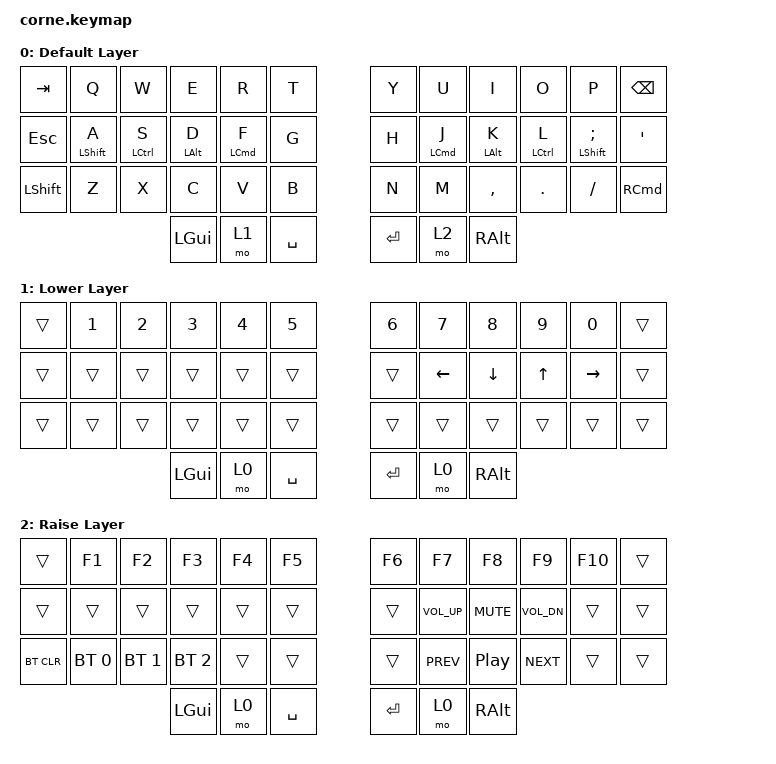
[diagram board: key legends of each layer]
/*
 * Copyright (c) 2020 The ZMK Contributors
 *
 * SPDX-License-Identifier: MIT
 */

#include <behaviors.dtsi>
#include <dt-bindings/zmk/bt.h>
#include <dt-bindings/zmk/keys.h>

/ {
    combos {
        compatible = "zmk,combos";

        COMBO_LEFT_BRACKET {
            bindings = <&kp LEFT_BRACKET>;
            key-positions = <3 4>;
            layers = <0>;
        };

        COMBO_RIGHT_BRACKET {
            bindings = <&kp RIGHT_BRACKET>;
            key-positions = <7 8>;
            layers = <0>;
        };

        COMBO_LESS_THAN {
            bindings = <&kp LESS_THAN>;
            key-positions = <3 2>;
            layers = <0>;
        };

        COMBO_GREATER_THAN {
            bindings = <&kp GREATER_THAN>;
            key-positions = <8 9>;
            layers = <0>;
        };

        COMBO_LEFT_PARENTHESIS {
            bindings = <&kp LEFT_PARENTHESIS>;
            key-positions = <15 16>;
            layers = <0>;
        };

        COMBO_RIGHT_PARENTHESIS {
            bindings = <&kp RIGHT_PARENTHESIS>;
            key-positions = <19 20>;
            layers = <0>;
        };

        COMBO_LEFT_BRACE {
            bindings = <&kp LEFT_BRACE>;
            key-positions = <27 28>;
            layers = <0>;
        };

        COMBO_RIGHT_BRACE {
            bindings = <&kp RIGHT_BRACE>;
            key-positions = <31 32>;
            layers = <0>;
        };

        COMBO_TILDE {
            bindings = <&kp TILDE>;
            key-positions = <14 13>;
            layers = <0>;
        };

        COMBO_GRAVE {
            bindings = <&kp GRAVE>;
            key-positions = <14 15>;
            layers = <0>;
        };

        COMBO_COLON {
            bindings = <&kp COLON>;
            key-positions = <20 21>;
            layers = <0>;
        };

        COMBO_BACKSLASH {
            bindings = <&kp BACKSLASH>;
            key-positions = <21 22>;
            layers = <0>;
        };

        COMBO_PIPE {
            bindings = <&kp PIPE>;
            key-positions = <27 26>;
            layers = <0>;
        };

        COMBO_SEMICOLON {
            bindings = <&kp SEMI>;
            key-positions = <33 32>;
            layers = <0>;
        };

        COMBO_ASTERISK {
            bindings = <&kp ASTERISK>;
            key-positions = <3 8>;
        };

        COMBO_PLUS {
            bindings = <&kp PLUS>;
            key-positions = <4 7>;
        };

        COMBO_DOLLAR {
            bindings = <&kp DOLLAR>;
            key-positions = <15 20>;
        };

        COMBO_EQUAL {
            bindings = <&kp EQUAL>;
            key-positions = <16 19>;
        };

        COMBO_AMPERSAND {
            bindings = <&kp AMPERSAND>;
            key-positions = <17 18>;
        };

        COMBO_MINUS {
            bindings = <&kp MINUS>;
            key-positions = <28 31>;
        };

        COMBO_UNDERSCORE {
            bindings = <&kp UNDERSCORE>;
            key-positions = <29 30>;
        };

        COMBO_EXCLAMATION {
            bindings = <&kp EXCLAMATION>;
            key-positions = <27 32>;
        };

        COMBO_CAPSLOCK {
            bindings = <&kp CAPSLOCK>;
            key-positions = <24 35>;
        };

        COMBO_HASH {
            bindings = <&kp HASH>;
            key-positions = <5 6>;
            layers = <0>;
        };

        COMBO_CARET {
            bindings = <&kp CARET>;
            key-positions = <1 2>;
            layers = <0>;
        };

        COMBO_PERCENT {
            bindings = <&kp PERCENT>;
            key-positions = <10 9>;
            layers = <0>;
        };
    };

    behaviors {
        hml: homerow_mods_left {
            compatible = "zmk,behavior-hold-tap";
            label = "HOMEROW_MODS_LEFT_HAND";
            bindings = <&kp>, <&kp>;

            #binding-cells = <2>;
            tapping-term-ms = <200>;
            hold-trigger-key-positions = <6 7 8 9 10 11 18 19 20 21 22 23 30 31 32 33 34 35 39 40 41>;
        };

        hmr: homerow_mods_right {
            compatible = "zmk,behavior-hold-tap";
            label = "HOMEROW_MODS_RIGHT";
            bindings = <&kp>, <&kp>;

            #binding-cells = <2>;
            tapping-term-ms = <200>;
            hold-trigger-key-positions = <0 1 2 4 5 12 13 14 15 16 17 24 25 26 27 28 29 36 37 38 3>;
        };
    };

    keymap {
        compatible = "zmk,keymap";

        base {
            display-name = "Default Layer";

            // -----------------------------------------------------------------------------------------
            // |  TAB |  Q  |  W  |  E  |  R  |  T  |   |  Y  |  U   |  I  |  O  |  P  | BSPC |
            // | CTRL |  A  |  S  |  D  |  F  |  G  |   |  H  |  J   |  K  |  L  |  ;  |  '   |
            // | SHFT |  Z  |  X  |  C  |  V  |  B  |   |  N  |  M   |  ,  |  .  |  /  | ESC  |
            //                    | GUI | LWR | SPC |   | ENT | RSE  | ALT |

            bindings = <
&kp TAB    &kp Q              &kp W         &kp E            &kp R                &kp T        &kp Y    &kp U        &kp I            &kp O                &kp P                 &kp BSPC
&kp ESC    &hml LEFT_SHIFT A  &hml LCTRL S  &hml LEFT_ALT D  &hml LEFT_COMMAND F  &kp G        &kp H    &hmr LCMD J  &hmr LEFT_ALT K  &hmr LEFT_CONTROL L  &hmr LEFT_SHIFT SEMI  &kp SQT
&kp LSHFT  &kp Z              &kp X         &kp C            &kp V                &kp B        &kp N    &kp M        &kp COMMA        &kp DOT              &kp FSLH              &kp RIGHT_COMMAND
                                            &kp LGUI         &mo 1                &kp SPACE    &kp RET  &mo 2        &kp RALT
            >;
        };

        number {
            display-name = "Lower Layer";

            // -----------------------------------------------------------------------------------------
            // |  TAB |  1  |  2  |  3  |  4  |  5  |   |  6  |  7  |  8  |  9  |  0  | BSPC |
            // | BTCLR| BT1 | BT2 | BT3 | BT4 | BT5 |   | LFT | DWN |  UP | RGT |     |      |
            // | SHFT |     |     |     |     |     |   |     |     |     |     |     |      |
            //                    | GUI |     | SPC |   | ENT |     | ALT |

            bindings = <
&trans  &kp N1  &kp N2  &kp N3    &kp N4  &kp N5       &kp N6   &kp N7          &kp N8          &kp N9        &kp N0           &trans
&trans  &trans  &trans  &trans    &trans  &trans       &trans   &kp LEFT_ARROW  &kp DOWN_ARROW  &kp UP_ARROW  &kp RIGHT_ARROW  &trans
&trans  &trans  &trans  &trans    &trans  &trans       &trans   &trans          &trans          &trans        &trans           &trans
                        &kp LGUI  &mo 0   &kp SPACE    &kp RET  &mo 0           &kp RALT
            >;
        };

        function {
            display-name = "Raise Layer";

            // -----------------------------------------------------------------------------------------
            // |  TAB |  !  |  @  |  #  |  $  |  %  |   |  ^  |  &  |  *  |  (  |  )  | BSPC |
            // | CTRL |     |     |     |     |     |   |  -  |  =  |  [  |  ]  |  \  |  `   |
            // | SHFT |     |     |     |     |     |   |  _  |  +  |  {  |  }  | "|" |  ~   |
            //                    | GUI |     | SPC |   | ENT |     | ALT |

            bindings = <
&trans      &kp F1        &kp F2        &kp F3        &kp F4  &kp F5       &kp F6   &kp F7        &kp F8            &kp F9        &kp F10  &trans
&trans      &trans        &trans        &trans        &trans  &trans       &trans   &kp C_VOL_UP  &kp C_MUTE        &kp C_VOL_DN  &trans   &trans
&bt BT_CLR  &bt BT_SEL 0  &bt BT_SEL 1  &bt BT_SEL 2  &trans  &trans       &trans   &kp C_PREV    &kp C_PLAY_PAUSE  &kp C_NEXT    &trans   &trans
                                        &kp LGUI      &mo 0   &kp SPACE    &kp RET  &mo 0         &kp RALT
            >;
        };
    };
};
